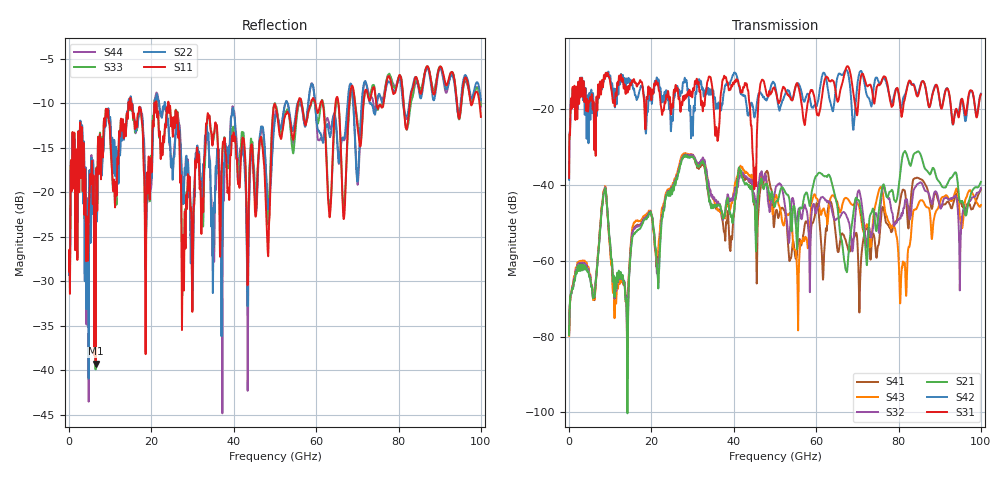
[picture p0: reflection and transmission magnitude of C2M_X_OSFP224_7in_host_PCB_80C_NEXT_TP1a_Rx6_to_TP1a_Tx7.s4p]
# GHz S RI R 45
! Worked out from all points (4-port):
!   4000 points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, 25 MHz to 100 GHz, reference 45 ohm
!   strongest paths, dB at 25 MHz, 25.02 GHz, 50.02 GHz, 75.03 GHz, 100 GHz:
!     S31: -38.2, -18.7, -14.9, -13.6, -16.1
!     S42: -38.6, -22.1, -13.7, -12.5, -15.9
!     S21: -79.6, -42.4, -45.5, -48.7, -39.2
!     S32: -78.7, -41.5, -41.7, -50.4, -40.9
!     S43: -79.8, -40.9, -43.2, -42.4, -45.3
!     S41: -79.3, -41.9, -47.8, -56.0, -41.2
!   lowest |S11| = -39.3 dB at 6.45 GHz (marker M1), VSWR 1.02, Z = 45.4 - j0.884 ohm
!   |S11| at or under -10 dB: start of sweep to 14.43 GHz; 15.01 GHz to 20.75 GHz (5.739 GHz wide, 32.1 % of centre); 24.18 GHz to 55.6 GHz (31.42 GHz wide, 78.8 % of centre) (the widest 3 of 16)
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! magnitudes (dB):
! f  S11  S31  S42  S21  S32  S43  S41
! 25 MHz  -28.9  -38.2  -38.6  -79.6  -78.7  -79.8  -79.3
! 6.45 GHz  -39.3  -31.5  -25.6  -66.1  -65.6  -66.1  -66.6
! 8.575 GHz  -11.9  -11.4  -11.8  -42.0  -41.7  -41.3  -41.7
! 28 GHz  -25.2  -17.0  -12.3  -32.6  -32.3  -31.8  -32.1
! 45.02 GHz  -20.5  -40.6  -22.2  -44.3  -42.7  -44.8  -44.6
! 55.48 GHz  -10.3  -13.4  -13.3  -55.0  -47.9  -66.3  -56.4
! 100 GHz  -11.6  -16.1  -15.9  -39.2  -40.9  -45.3  -41.2
